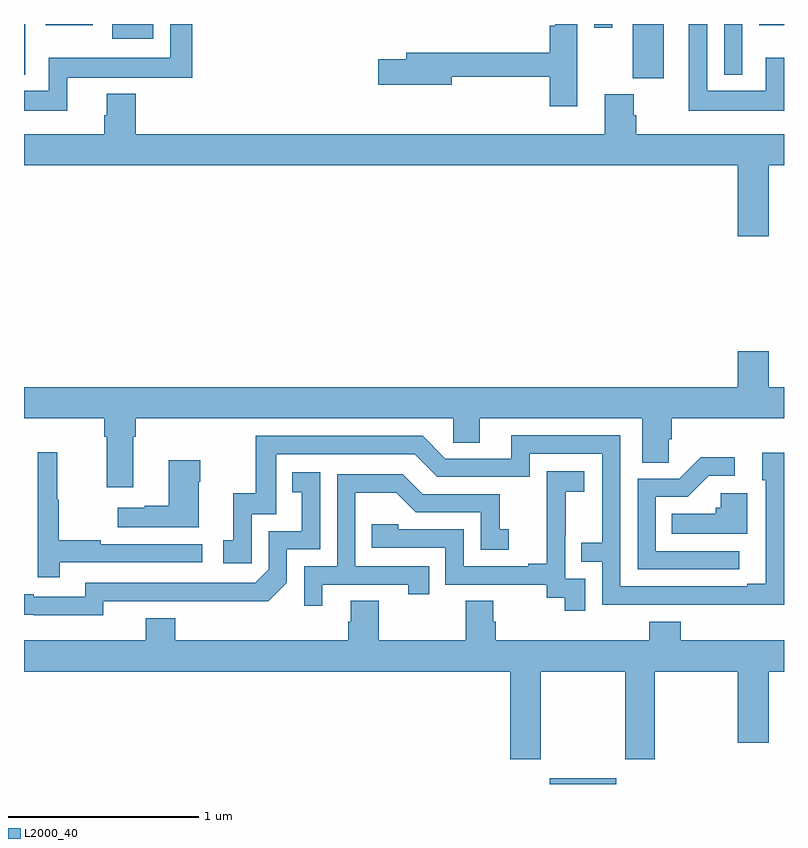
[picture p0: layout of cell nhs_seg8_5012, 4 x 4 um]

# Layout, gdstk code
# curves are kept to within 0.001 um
import gdstk
lib = gdstk.Library(unit=1e-6, precision=1e-09)
def R(c, l, rs):  # rectangles x0, y0, x1, y1
    for r in rs: c.add(gdstk.rectangle(r[:2], r[2:], *l))
def P(c, l, *ps):  # polygons
    for p in ps: c.add(gdstk.Polygon(p, *l))
L2000_40 = (2000, 40)

nhs_seg8_5012 = lib.new_cell('nhs_seg8_5012')
R(nhs_seg8_5012, L2000_40, [(415.766,1123.9,416.116,1123.93), (416.204,1127.614,416.368,1127.9), (413,1127.633,413.007,1127.9), (416.685,1127.633,416.781,1127.9), (413.465,1127.822,413.68,1127.9), (416.001,1127.88,416.097,1127.9), (413.114,1127.894,413.362,1127.9), (416.87,1127.894,417,1127.9)])
P(nhs_seg8_5012, L2000_40, [(415.912,1127.727),(415.911,1127.727),(415.911,1127.9),(415.795,1127.9),(415.795,1127.89),(415.766,1127.89),(415.766,1127.75),(415.013,1127.75),(415.013,1127.714),(414.864,1127.714),(414.864,1127.579),(415.252,1127.579),(415.252,1127.622),(415.766,1127.622),(415.766,1127.466),(415.912,1127.466)],
  [(417,1127.722),(416.904,1127.722),(416.904,1127.548),(416.595,1127.548),(416.595,1127.9),(416.498,1127.9),(416.498,1127.444),(417,1127.444)],
  [(413.228,1127.618),(413.762,1127.618),(413.762,1127.616),(413.885,1127.616),(413.885,1127.9),(413.769,1127.9),(413.769,1127.722),(413.13,1127.722),(413.13,1127.548),(413,1127.548),(413,1127.444),(413.228,1127.444)],
  [(416.92,1127.156),(417,1127.156),(417,1127.32),(416.222,1127.32),(416.222,1127.42),(416.209,1127.42),(416.209,1127.529),(416.057,1127.529),(416.057,1127.32),(413.588,1127.32),(413.588,1127.533),(413.435,1127.533),(413.435,1127.421),(413.423,1127.421),(413.423,1127.32),(413,1127.32),(413,1127.156),(416.756,1127.156),(416.756,1126.782),(416.92,1126.782)],
  [(416.756,1126.177),(416.756,1125.988),(413,1125.988),(413,1125.824),(413.423,1125.824),(413.423,1125.728),(413.435,1125.728),(413.435,1125.462),(413.575,1125.462),(413.575,1125.728),(413.588,1125.728),(413.588,1125.824),(415.26,1125.824),(415.26,1125.697),(415.399,1125.697),(415.399,1125.824),(416.255,1125.824),(416.255,1125.592),(416.394,1125.592),(416.394,1125.715),(416.408,1125.715),(416.408,1125.824),(417,1125.824),(417,1125.988),(416.92,1125.988),(416.92,1126.177)],
  [(417,1125.643),(416.885,1125.643),(416.885,1125.498),(416.904,1125.498),(416.904,1124.953),(416.807,1124.953),(416.807,1124.94),(416.139,1124.94),(416.139,1125.735),(415.565,1125.735),(415.565,1125.612),(415.218,1125.612),(415.098,1125.732),(414.219,1125.732),(414.219,1125.43),(414.101,1125.43),(414.101,1125.183),(414.048,1125.183),(414.048,1125.063),(414.198,1125.063),(414.198,1125.321),(414.327,1125.321),(414.327,1125.636),(415.056,1125.636),(415.176,1125.516),(415.662,1125.516),(415.662,1125.639),(416.043,1125.639),(416.043,1125.17),(415.933,1125.17),(415.933,1125.069),(416.043,1125.069),(416.043,1124.844),(417,1124.843)],
  [(413.189,1125.066),(413.938,1125.066),(413.938,1125.162),(413.405,1125.162),(413.405,1125.182),(413.182,1125.182),(413.182,1125.396),(413.174,1125.396),(413.174,1125.646),(413.073,1125.646),(413.073,1124.988),(413.189,1124.988)],
  [(416.764,1125.126),(416.325,1125.126),(416.325,1125.411),(416.494,1125.411),(416.605,1125.522),(416.74,1125.522),(416.74,1125.62),(416.561,1125.62),(416.448,1125.507),(416.229,1125.507),(416.229,1125.03),(416.764,1125.03)],
  [(413.92,1125.491),(413.928,1125.491),(413.928,1125.604),(413.762,1125.604),(413.762,1125.365),(413.636,1125.365),(413.636,1125.355),(413.493,1125.355),(413.493,1125.251),(413.92,1125.251)],
  [(415.953,1124.979),(415.848,1124.979),(415.848,1125.209),(415.85,1125.209),(415.85,1125.437),(415.948,1125.437),(415.948,1125.547),(415.75,1125.547),(415.75,1125.341),(415.751,1125.341),(415.751,1125.058),(415.655,1125.058),(415.655,1125.045),(415.314,1125.045),(415.314,1125.24),(414.969,1125.24),(414.969,1125.267),(414.829,1125.267),(414.829,1125.144),(415.218,1125.144),(415.218,1124.949),(415.752,1124.949),(415.752,1124.881),(415.845,1124.881),(415.845,1124.811),(415.953,1124.811)],
  [(413.418,1124.862),(414.286,1124.861),(414.384,1124.958),(414.384,1125.135),(414.558,1125.135),(414.558,1125.541),(414.412,1125.541),(414.412,1125.435),(414.461,1125.435),(414.461,1125.231),(414.288,1125.231),(414.288,1125.03),(414.216,1124.958),(413.322,1124.958),(413.322,1124.886),(413.05,1124.886),(413.05,1124.899),(413,1124.899),(413,1124.79),(413.418,1124.789)],
  [(414.571,1124.949),(415.022,1124.949),(415.022,1124.898),(415.133,1124.898),(415.133,1125.045),(414.744,1125.045),(414.744,1125.434),(414.958,1125.434),(415.062,1125.33),(415.404,1125.33),(415.404,1125.132),(415.552,1125.132),(415.552,1125.241),(415.503,1125.241),(415.503,1125.426),(415.099,1125.426),(414.994,1125.531),(414.648,1125.531),(414.648,1125.045),(414.474,1125.045),(414.474,1124.838),(414.571,1124.838)],
  [(416.806,1125.43),(416.667,1125.43),(416.667,1125.354),(416.641,1125.354),(416.641,1125.322),(416.41,1125.322),(416.41,1125.218),(416.806,1125.218)],
  [(415.719,1124.492),(416.164,1124.492),(416.164,1124.031),(416.319,1124.031),(416.319,1124.492),(416.756,1124.492),(416.756,1124.118),(416.92,1124.118),(416.92,1124.492),(417,1124.492),(417,1124.656),(416.456,1124.656),(416.456,1124.755),(416.291,1124.755),(416.291,1124.656),(415.484,1124.656),(415.484,1124.754),(415.471,1124.754),(415.471,1124.864),(415.324,1124.864),(415.324,1124.656),(414.867,1124.656),(414.867,1124.864),(414.719,1124.864),(414.719,1124.754),(414.707,1124.754),(414.707,1124.656),(413.795,1124.656),(413.795,1124.773),(413.642,1124.773),(413.642,1124.656),(413,1124.656),(413,1124.492),(415.559,1124.492),(415.559,1124.031),(415.719,1124.031)])

lib.write_gds('nhs_seg8_5012.gds')
